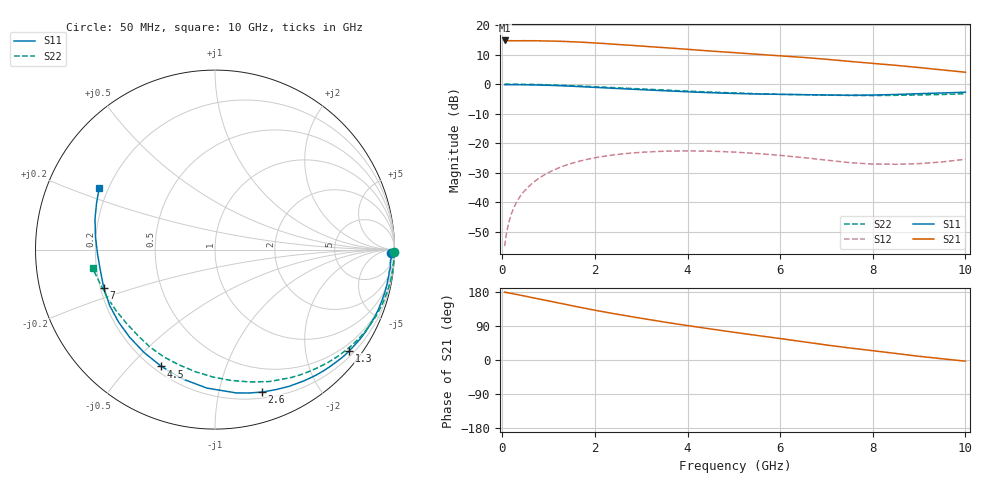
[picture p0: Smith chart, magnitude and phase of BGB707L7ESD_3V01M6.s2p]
!  Infineon Technologies AG
!  BGB707L7ESD
!  Vce = 3.0V, Ic = 1.6mA
!  DATUM: 30.06.2009 10:17:32
# GHz  S  MA  R  50
!f  S11  S21  S12  S22
!GHz  Mag  Ang  Mag  Ang  Mag  Ang  Mag  Ang
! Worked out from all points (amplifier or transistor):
!   52 points, 50 MHz to 10 GHz, reference 50 ohm
!   highest |S21| = 14.8 dB at 60 MHz (marker M1)
!   |S21| within 3 dB of that: start of sweep to 4 GHz
!   unconditionally stable (mu >= 1): 7.205 GHz to end of sweep
!   at 130 MHz: K = 0.01, MSG = 31.1 dB, |S12| = -47.4 dB
!   at 1.4 GHz: K = 0.04, MSG = 20.9 dB, |S12| = -27.3 dB
!   at 10 GHz: K = 1.17, MAG = 12.2 dB, |S12| = -25.4 dB
!   S11 on the Smith chart (normalised r, x): 50 MHz: 46, -47; 1.3 GHz: 0.32, -2.95; 2.6 GHz: 0.26, -1.35; 4.5 GHz: 0.23, -0.62; 7 GHz: 0.21, -0.16; 10 GHz: 0.16, +0.24
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0.05  0.979 -1.2  5.385 179.0  0.001816 80.4  0.9989 -0.9
0.06  0.9814 -2.2  5.486 178.8  0.002036 83.8  0.999 -1.2
0.08  0.9787 -2.2  5.397 178.1  0.002642 86.2  0.9989 -1.7
0.09  0.9839 -2.7  5.443 178.5  0.002984 87.7  0.9991 -1.8
0.1  0.9809 -2.9  5.418 177.7  0.003133 87.9  0.9988 -2.1
0.2  0.9825 -5.8  5.44 175.7  0.006519 87.0  0.9979 -4.2
0.4  0.9779 -11.4  5.419 170.9  0.01308 82.0  0.9945 -8.4
0.7  0.9698 -20.1  5.432 163.2  0.02275 75.8  0.9866 -14.7
1.3  0.937 -37.1  5.299 148.5  0.04055 63.4  0.9568 -27.2
1.8  0.8987 -50.9  5.085 136.2  0.05277 53.3  0.9209 -37.3
2.2  0.8663 -61.6  4.873 126.9  0.06045 45.8  0.8894 -45.0
2.6  0.8359 -71.7  4.629 118.3  0.06623 39.0  0.8582 -52.3
3  0.807 -81.6  4.41 110.1  0.0704 32.8  0.8294 -59.3
3.5  0.773 -93.3  4.143 100.1  0.07346 25.5  0.7956 -67.5
4  0.7425 -104.3  3.884 90.8  0.07427 19.1  0.7628 -75.2
4.5  0.7163 -114.6  3.634 81.9  0.07344 13.5  0.7344 -83.0
5.5  0.6818 -134.2  3.207 64.8  0.0671 4.9  0.6891 -99.0
6.5  0.6645 -152.2  2.833 48.1  0.05721 1.4  0.6626 -115.3
7  0.6554 -161.0  2.636 39.6  0.05182 2.3  0.6529 -123.8
8.5  0.6695 174.1  2.082 17.2  0.04418 19.3  0.6478 -148.4
9  0.6901 165.7  1.909 9.8  0.04521 26.0  0.6575 -156.8
10  0.7312 151.8  1.591 -3.1  0.05356 36.5  0.6895 -171.2
